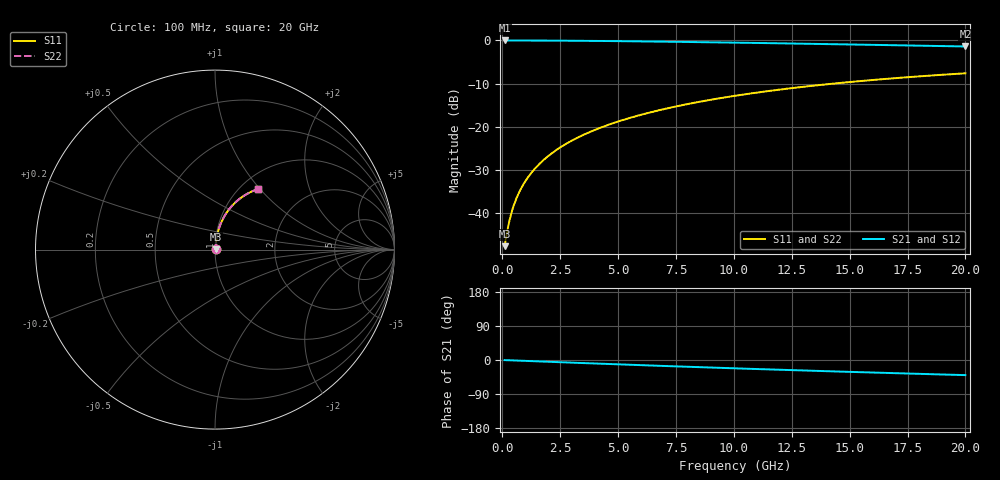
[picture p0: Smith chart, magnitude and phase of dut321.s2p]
! Touchstone file exported from HFSS 2024.1.0
!  File:  C:/UserFiles/LocalFiles/RDL_TSV_Batchsim/temp_RDL_top_321_1779607006.aedt
!  Generated:  03:19:17 PM May 24, 2026
!  Design:  RDL_top
!  Project:  temp_RDL_top_321_1779607006
!  Setup:  Setup1
!  Solution:  Sweep
! Variables:
!  dtsv = 10.80580581um
!  hbump = 3um
!  htsv = 64.84um
!  ldown = 100um
!  lrdl = 541.82um
!  p = 40
!  p1 = 46.68um
!  rhole = 1um
!  t = 450um
!  tdown = 3.915915916um
!  trdl = 3.86um
!  wdown = 15.38538539um
!  wrdl = 15.32um
# GHz S MA R 50.000000
! Terminal data exported
! Port[1] = Box2_T1
! Port[2] = Box2_T2
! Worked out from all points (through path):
!   200 points, 100 MHz to 20 GHz, reference 50 ohm
!   highest |S21| = -0.03 dB at 100 MHz (marker M1); lowest = -1.4 dB at 20 GHz (marker M2)
!   group delay of S21, straight-line fit = 5.53 ps
!   lowest |S11| = -47.7 dB at 100 MHz (marker M3), VSWR 1.01, Z = 50.3 + j0.244 ohm
!   |S11| at or under -10 dB: start of sweep to 14.33 GHz
!   |S22| runs from -47.7 to -7.6 dB; largest |S21 - S12| = 3.3e-15
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0.1  0.004143 35.9  0.9966 -0.2  0.9966 -0.2  0.004143 35.9
! Gamma 0 0 0 0
! Port Impedance 50 0 50 0
0.2  0.00593 54.3  0.9965 -0.5  0.9965 -0.5  0.00593 54.3
0.3  0.008012 63.4  0.9964 -0.7  0.9964 -0.7  0.008012 63.4
0.4  0.01018 68.5  0.9962 -1.0  0.9962 -1.0  0.01018 68.5
0.5  0.01237 71.8  0.9961 -1.2  0.9961 -1.2  0.01237 71.8
0.6  0.01458 74.1  0.996 -1.4  0.996 -1.4  0.01458 74.1
0.8  0.01902 77.0  0.9957 -1.9  0.9957 -1.9  0.01902 77.0
1.1  0.02574 79.5  0.9951 -2.6  0.9951 -2.6  0.02574 79.5
1.5  0.03477 81.0  0.9943 -3.5  0.9943 -3.5  0.03477 81.0
1.8  0.04158 81.6  0.9936 -4.2  0.9936 -4.2  0.04158 81.6
2.1  0.04841 81.9  0.9927 -4.9  0.9927 -4.9  0.04841 81.9
2.7  0.06211 81.9  0.9906 -6.3  0.9906 -6.3  0.0621 81.9
3.5  0.08041 81.4  0.9872 -8.1  0.9872 -8.1  0.0804 81.4
4.2  0.09644 80.7  0.9836 -9.7  0.9836 -9.7  0.09644 80.7
5  0.1148 79.7  0.9789 -11.5  0.9789 -11.5  0.1148 79.7
5.9  0.1353 78.4  0.973 -13.4  0.973 -13.4  0.1353 78.4
6.8  0.1558 77.0  0.9666 -15.4  0.9666 -15.4  0.1558 77.0
8.4  0.1918 74.4  0.9543 -18.7  0.9543 -18.7  0.1918 74.4
10.1  0.2292 71.5  0.9401 -22.1  0.9401 -22.1  0.2291 71.5
13.4  0.2979 65.6  0.9107 -28.4  0.9107 -28.4  0.2978 65.6
16.7  0.3602 59.9  0.8799 -34.3  0.8799 -34.3  0.3601 59.9
20  0.4153 54.4  0.8489 -39.9  0.8489 -39.9  0.4152 54.4
